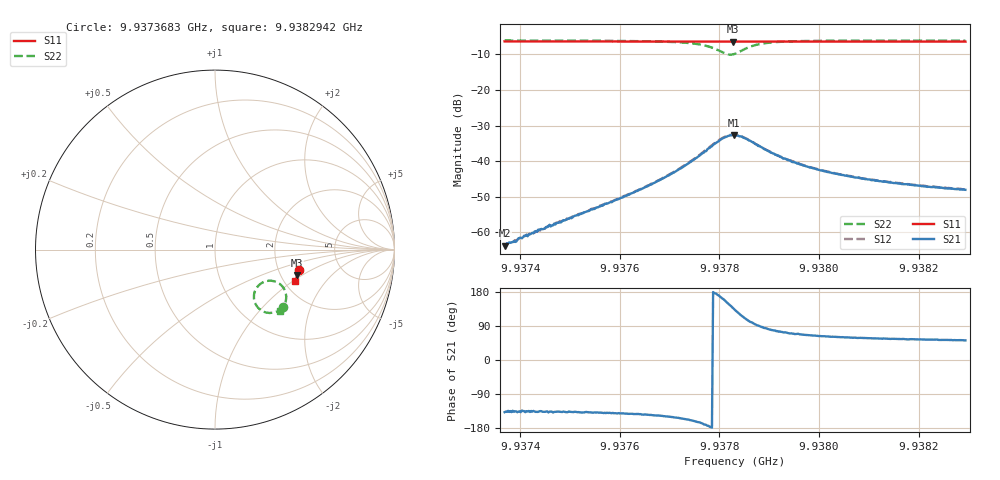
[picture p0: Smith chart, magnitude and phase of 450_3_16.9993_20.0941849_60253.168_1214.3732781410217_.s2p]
#  HZ  S  RI  R  50.00
! Rohde & Schwarz Vector Network Analyzer
! Rohde-Schwarz,ZNB20-2Port,1311601062101988,3.16
! Created: UTC 3/20/2024, 11:12:14 PM
! freq[Hz]  re:S11  im:S11  re:S21  im:S21  re:S12  im:S12  re:S22  im:S22
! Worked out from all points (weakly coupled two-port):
!   401 points, 9.9373683 GHz to 9.9382942 GHz, reference 50 ohm
!   highest |S21| = -32.69 dB at 9.9378289 GHz (marker M1); lowest = -63.8 dB at 9.9373683 GHz (marker M2)
!   lowest |S11| = -6.4 dB at 9.9378266 GHz (marker M3), VSWR 2.84, Z = 122 - j45 ohm
!   |S11| at or under -10 dB: nowhere
!   |S22| runs from -10.1 to -6.1 dB; largest |S21 - S12| = 0.00092
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9.93736832e9  0.4699 -0.1131  -0.000477 -0.000434  -0.000481 -0.000451  0.3799 -0.3215
9.93738915e9  0.4696 -0.1145  -0.000519 -0.000511  -0.000571 -0.000518  0.378 -0.3229
9.93739841e9  0.4692 -0.1152  -0.000589 -0.000583  -0.000607 -0.000565  0.3772 -0.3236
9.93744007e9  0.4684 -0.1179  -0.000776 -0.000781  -0.000791 -0.000701  0.3736 -0.3267
9.9375234e9  0.4665 -0.1234  -0.00138 -0.00121  -0.00138 -0.00123  0.3644 -0.3337
9.9376021e9  0.4646 -0.1287  -0.00236 -0.00194  -0.00244 -0.00191  0.3519 -0.3415
9.93767849e9  0.4628 -0.1339  -0.00444 -0.00294  -0.00457 -0.00288  0.3301 -0.3504
9.9377271e9  0.4613 -0.1373  -0.00751 -0.00357  -0.00774 -0.00347  0.3029 -0.353
9.93777108e9  0.4595 -0.14  -0.0136 -0.00228  -0.0139 -0.00212  0.2548 -0.3365
9.9377896e9  0.4586 -0.1408  -0.0173 0.000888  -0.0177 0.00109  0.2286 -0.3079
9.9378058e9  0.4577 -0.1415  -0.0197 0.00632  -0.02 0.0069  0.2169 -0.2616
9.93781737e9  0.4573 -0.1414  -0.0193 0.0117  -0.0193 0.0123  0.2274 -0.2208
9.93782663e9  0.4572 -0.1416  -0.0171 0.0156  -0.017 0.0162  0.2505 -0.193
9.93782895e9  0.4572 -0.1416  -0.0165 0.0164  -0.0162 0.0171  0.2579 -0.1877
9.93783126e9  0.4574 -0.1417  -0.0155 0.0172  -0.0153 0.0178  0.266 -0.1832
9.93785672e9  0.4578 -0.1428  -0.00529 0.0193  -0.00482 0.0198  0.3481 -0.1834
9.93788218e9  0.4579 -0.1447  0.000396 0.016  0.000927 0.0159  0.3858 -0.2203
9.93792616e9  0.4572 -0.1482  0.00309 0.0107  0.00331 0.0107  0.3968 -0.2663
9.93798635e9  0.4559 -0.1525  0.0034 0.00722  0.00358 0.00724  0.3911 -0.2965
9.93804422e9  0.4545 -0.1562  0.00322 0.00557  0.00331 0.00556  0.384 -0.3117
9.93814143e9  0.4519 -0.1626  0.00281 0.00414  0.00291 0.00415  0.3742 -0.3265
9.93829421e9  0.4476 -0.1725  0.00244 0.0031  0.00251 0.00315  0.362 -0.3406
